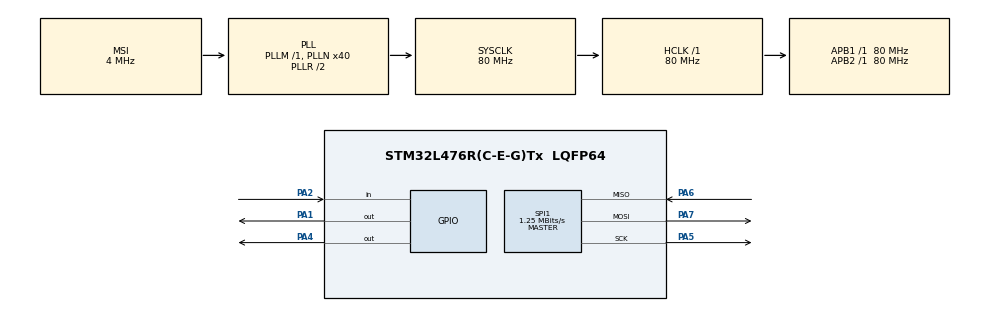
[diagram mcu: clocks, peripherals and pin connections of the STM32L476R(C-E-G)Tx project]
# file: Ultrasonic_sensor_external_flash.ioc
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Mcu.Family=STM32L4
Mcu.Name=STM32L476R(C-E-G)Tx
Mcu.Package=LQFP64
NVIC.PriorityGroup=NVIC_PRIORITYGROUP_4
PA1.Signal=GPIO_Output
PA2.Signal=GPIO_Input
PA4.PinState=GPIO_PIN_SET
PA4.Signal=GPIO_Output
PA5.Mode=Full_Duplex_Master
PA5.Signal=SPI1_SCK
PA6.Mode=Full_Duplex_Master
PA6.Signal=SPI1_MISO
PA7.Mode=Full_Duplex_Master
PA7.Signal=SPI1_MOSI
ProjectManager.HeapSize=0x200
ProjectManager.StackSize=0x400
ProjectManager.TargetToolchain=STM32CubeIDE
RCC.AHBFreq_Value=80000000
RCC.APB1Freq_Value=80000000
RCC.APB1TimFreq_Value=80000000
RCC.APB2Freq_Value=80000000
RCC.APB2TimFreq_Value=80000000
RCC.CortexFreq_Value=80000000
RCC.HCLKFreq_Value=80000000
RCC.HSE_VALUE=8000000
RCC.HSI_VALUE=16000000
RCC.LSE_VALUE=32768
RCC.MSI_VALUE=4000000
RCC.PLLN=40
RCC.SYSCLKFreq_VALUE=80000000
RCC.SYSCLKSource=RCC_SYSCLKSOURCE_PLLCLK
RCC.VCOOutputFreq_Value=160000000
SPI1.BaudRatePrescaler=SPI_BAUDRATEPRESCALER_64
SPI1.CalculateBaudRate=1.25 MBits/s
SPI1.DataSize=SPI_DATASIZE_8BIT
SPI1.Direction=SPI_DIRECTION_2LINES
SPI1.Mode=SPI_MODE_MASTER
SPI1.VirtualType=VM_MASTER
TIM2.Period=65535
TIM2.Prescaler=79
VP_TIM2_VS_ClockSourceINT.Mode=Internal
board=custom

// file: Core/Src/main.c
/* USER CODE BEGIN Header */
/**
 ******************************************************************************
 * @file           : main.c
 * @brief          : Main program body
 ******************************************************************************
 * @attention
 *
 * Copyright (c) 2025 STMicroelectronics.
 * All rights reserved.
 *
 * This software is licensed under terms that can be found in the LICENSE file
 * in the root directory of this software component.
 * If no LICENSE file comes with this software, it is provided AS-IS.
 *
 ******************************************************************************
 */
/* USER CODE END Header */
#include "main.h"

SPI_HandleTypeDef hspi1;

TIM_HandleTypeDef htim2;

/* USER CODE BEGIN PV */
#define TRIG_PIN   GPIO_PIN_1
#define ECHO_PIN   GPIO_PIN_2
#define CS_PIN     GPIO_PIN_4
#define TRIG_PORT  GPIOA
#define ECHO_PORT  GPIOA
#define CS_PORT    GPIOA

#define CMD_WREN   0x06
#define CMD_PP     0x02
#define CMD_READ   0x03
#define CMD_SE     0x20
#define CMD_RDSR   0x05
#define FLASH_ADDR 0x000000
/* USER CODE END PV */

void SystemClock_Config(void);
static void MX_GPIO_Init(void);
static void MX_TIM2_Init(void);
static void MX_SPI1_Init(void);

/* USER CODE BEGIN 0 */
void SystemClock_Config(void);
static void MX_GPIO_Init(void);
static void MX_TIM2_Init(void);
static void MX_SPI1_Init(void);

void delay_us(uint16_t us);
uint32_t Ultrasonic_Read(void);
void Flash_WriteEnable(void);
void Flash_WaitBusy(void);
void Flash_EraseSector(uint32_t addr);
void Flash_Write(uint32_t addr, uint8_t *data, uint16_t len);
void Flash_Read(uint32_t addr, uint8_t *data, uint16_t len);

uint32_t Ultrasonic_Read(void)
{
	uint32_t start = 0, end = 0;
	HAL_GPIO_WritePin(TRIG_PORT, TRIG_PIN, GPIO_PIN_RESET);
	HAL_Delay(2);
	HAL_GPIO_WritePin(TRIG_PORT, TRIG_PIN, GPIO_PIN_SET);
	delay_us(10);
	HAL_GPIO_WritePin(TRIG_PORT, TRIG_PIN, GPIO_PIN_RESET);

	while (!HAL_GPIO_ReadPin(ECHO_PORT, ECHO_PIN));
	start = __HAL_TIM_GET_COUNTER(&htim2);
	while (HAL_GPIO_ReadPin(ECHO_PORT, ECHO_PIN));
	end = __HAL_TIM_GET_COUNTER(&htim2);

	uint32_t diff = (end >= start) ? (end - start) : (0xFFFF - start + end);
	return (uint32_t)(diff * 0.034 / 2);
}

void delay_us(uint16_t us)
{
	__HAL_TIM_SET_COUNTER(&htim2, 0);
	while (__HAL_TIM_GET_COUNTER(&htim2) < us);
}

/* ---------------- SPI FLASH FUNCTIONS ---------------- */
void Flash_WriteEnable(void)
{
	uint8_t cmd = CMD_WREN;
	HAL_GPIO_WritePin(CS_PORT, CS_PIN, GPIO_PIN_RESET);
	HAL_SPI_Transmit(&hspi1, &cmd, 1, HAL_MAX_DELAY);
	HAL_GPIO_WritePin(CS_PORT, CS_PIN, GPIO_PIN_SET);
}

void Flash_WaitBusy(void)
{
	uint8_t cmd = CMD_RDSR, status;
	do {
		HAL_GPIO_WritePin(CS_PORT, CS_PIN, GPIO_PIN_RESET);
		HAL_SPI_Transmit(&hspi1, &cmd, 1, HAL_MAX_DELAY);
		HAL_SPI_Receive(&hspi1, &status, 1, HAL_MAX_DELAY);
		HAL_GPIO_WritePin(CS_PORT, CS_PIN, GPIO_PIN_SET);
	} while (status & 0x01);
}

void Flash_EraseSector(uint32_t addr)
{
	uint8_t cmd[4] = {CMD_SE, (addr >> 16) & 0xFF, (addr >> 8) & 0xFF, addr & 0xFF};
	Flash_WriteEnable();
	HAL_GPIO_WritePin(CS_PORT, CS_PIN, GPIO_PIN_RESET);
	HAL_SPI_Transmit(&hspi1, cmd, 4, HAL_MAX_DELAY);
	HAL_GPIO_WritePin(CS_PORT, CS_PIN, GPIO_PIN_SET);
	Flash_WaitBusy();
}

void Flash_Write(uint32_t addr, uint8_t *data, uint16_t len)
{
	uint8_t cmd[4] = {CMD_PP, (addr >> 16) & 0xFF, (addr >> 8) & 0xFF, addr & 0xFF};
	Flash_WriteEnable();
	HAL_GPIO_WritePin(CS_PORT, CS_PIN, GPIO_PIN_RESET);
	HAL_SPI_Transmit(&hspi1, cmd, 4, HAL_MAX_DELAY);
	HAL_SPI_Transmit(&hspi1, data, len, HAL_MAX_DELAY);
	HAL_GPIO_WritePin(CS_PORT, CS_PIN, GPIO_PIN_SET);
	Flash_WaitBusy();
}

void Flash_Read(uint32_t addr, uint8_t *data, uint16_t len)
{
	uint8_t cmd[4] = {CMD_READ, (addr >> 16) & 0xFF, (addr >> 8) & 0xFF, addr & 0xFF};
	HAL_GPIO_WritePin(CS_PORT, CS_PIN, GPIO_PIN_RESET);
	HAL_SPI_Transmit(&hspi1, cmd, 4, HAL_MAX_DELAY);
	HAL_SPI_Receive(&hspi1, data, len, HAL_MAX_DELAY);
	HAL_GPIO_WritePin(CS_PORT, CS_PIN, GPIO_PIN_SET);
}
/* USER CODE END 0 */

int main(void)
{

	/* MCU Configuration--------------------------------------------------------*/

	/* Reset of all peripherals, Initializes the Flash interface and the Systick. */
	HAL_Init();

	/* Configure the system clock */
	SystemClock_Config();

	/* Initialize all configured peripherals */
	MX_GPIO_Init();
	MX_TIM2_Init();
	MX_SPI1_Init();
	/* USER CODE BEGIN 2 */
	HAL_TIM_Base_Start(&htim2);
	Flash_EraseSector(FLASH_ADDR);
	/* USER CODE END 2 */

	/* Infinite loop */
	while (1)
	{

		/* USER CODE BEGIN 3 */
		uint32_t distance = Ultrasonic_Read();
		uint8_t data[4] =
		{
				(distance >> 24) & 0xFF,
				(distance >> 16) & 0xFF,
				(distance >> 8) & 0xFF,
				distance & 0xFF
		};

		Flash_Write(FLASH_ADDR, data, 4);
		HAL_Delay(50);

		uint8_t readback[4];
		Flash_Read(FLASH_ADDR, readback, 4);
		uint32_t stored = (readback[0] << 24) | (readback[1] << 16) | (readback[2] << 8) | readback[3];

		HAL_Delay(500);
	}
	/* USER CODE END 3 */
}

void SystemClock_Config(void)
{
	RCC_OscInitTypeDef RCC_OscInitStruct = {0};
	RCC_ClkInitTypeDef RCC_ClkInitStruct = {0};

	/** Configure the main internal regulator output voltage
	 */
	if (HAL_PWREx_ControlVoltageScaling(PWR_REGULATOR_VOLTAGE_SCALE1) != HAL_OK)
	{
		Error_Handler();
	}

	/** Initializes the RCC Oscillators according to the specified parameters
	 * in the RCC_OscInitTypeDef structure.
	 */
	RCC_OscInitStruct.OscillatorType = RCC_OSCILLATORTYPE_MSI;
	RCC_OscInitStruct.MSIState = RCC_MSI_ON;
	RCC_OscInitStruct.MSICalibrationValue = 0;
	RCC_OscInitStruct.MSIClockRange = RCC_MSIRANGE_6;
	RCC_OscInitStruct.PLL.PLLState = RCC_PLL_ON;
	RCC_OscInitStruct.PLL.PLLSource = RCC_PLLSOURCE_MSI;
	RCC_OscInitStruct.PLL.PLLM = 1;
	RCC_OscInitStruct.PLL.PLLN = 40;
	RCC_OscInitStruct.PLL.PLLP = RCC_PLLP_DIV7;
	RCC_OscInitStruct.PLL.PLLQ = RCC_PLLQ_DIV2;
	RCC_OscInitStruct.PLL.PLLR = RCC_PLLR_DIV2;
	if (HAL_RCC_OscConfig(&RCC_OscInitStruct) != HAL_OK)
	{
		Error_Handler();
	}

	/** Initializes the CPU, AHB and APB buses clocks
	 */
	RCC_ClkInitStruct.ClockType = RCC_CLOCKTYPE_HCLK|RCC_CLOCKTYPE_SYSCLK
			|RCC_CLOCKTYPE_PCLK1|RCC_CLOCKTYPE_PCLK2;
	RCC_ClkInitStruct.SYSCLKSource = RCC_SYSCLKSOURCE_PLLCLK;
	RCC_ClkInitStruct.AHBCLKDivider = RCC_SYSCLK_DIV1;
	RCC_ClkInitStruct.APB1CLKDivider = RCC_HCLK_DIV1;
	RCC_ClkInitStruct.APB2CLKDivider = RCC_HCLK_DIV1;

	if (HAL_RCC_ClockConfig(&RCC_ClkInitStruct, FLASH_LATENCY_4) != HAL_OK)
	{
		Error_Handler();
	}
}

static void MX_SPI1_Init(void)
{

	/* SPI1 parameter configuration*/
	hspi1.Instance = SPI1;
	hspi1.Init.Mode = SPI_MODE_MASTER;
	hspi1.Init.Direction = SPI_DIRECTION_2LINES;
	hspi1.Init.DataSize = SPI_DATASIZE_8BIT;
	hspi1.Init.CLKPolarity = SPI_POLARITY_LOW;
	hspi1.Init.CLKPhase = SPI_PHASE_1EDGE;
	hspi1.Init.NSS = SPI_NSS_SOFT;
	hspi1.Init.BaudRatePrescaler = SPI_BAUDRATEPRESCALER_64;
	hspi1.Init.FirstBit = SPI_FIRSTBIT_MSB;
	hspi1.Init.TIMode = SPI_TIMODE_DISABLE;
	hspi1.Init.CRCCalculation = SPI_CRCCALCULATION_DISABLE;
	hspi1.Init.CRCPolynomial = 7;
	hspi1.Init.CRCLength = SPI_CRC_LENGTH_DATASIZE;
	hspi1.Init.NSSPMode = SPI_NSS_PULSE_ENABLE;
	if (HAL_SPI_Init(&hspi1) != HAL_OK)
	{
		Error_Handler();
	}

}

static void MX_TIM2_Init(void)
{

	TIM_ClockConfigTypeDef sClockSourceConfig = {0};
	TIM_MasterConfigTypeDef sMasterConfig = {0};

	htim2.Instance = TIM2;
	htim2.Init.Prescaler = 79;
	htim2.Init.CounterMode = TIM_COUNTERMODE_UP;
	htim2.Init.Period = 65535;
	htim2.Init.ClockDivision = TIM_CLOCKDIVISION_DIV1;
	htim2.Init.AutoReloadPreload = TIM_AUTORELOAD_PRELOAD_DISABLE;
	if (HAL_TIM_Base_Init(&htim2) != HAL_OK)
	{
		Error_Handler();
	}
	sClockSourceConfig.ClockSource = TIM_CLOCKSOURCE_INTERNAL;
	if (HAL_TIM_ConfigClockSource(&htim2, &sClockSourceConfig) != HAL_OK)
	{
		Error_Handler();
	}
	sMasterConfig.MasterOutputTrigger = TIM_TRGO_RESET;
	sMasterConfig.MasterSlaveMode = TIM_MASTERSLAVEMODE_DISABLE;
	if (HAL_TIMEx_MasterConfigSynchronization(&htim2, &sMasterConfig) != HAL_OK)
	{
		Error_Handler();
	}

}

static void MX_GPIO_Init(void)
{
	GPIO_InitTypeDef GPIO_InitStruct = {0};

	/* GPIO Ports Clock Enable */
	__HAL_RCC_GPIOA_CLK_ENABLE();

	/*Configure GPIO pin Output Level */
	HAL_GPIO_WritePin(GPIOA, GPIO_PIN_1, GPIO_PIN_RESET);

	/*Configure GPIO pin Output Level */
	HAL_GPIO_WritePin(GPIOA, GPIO_PIN_4, GPIO_PIN_SET);

	/*Configure GPIO pins : PA1 PA4 */
	GPIO_InitStruct.Pin = GPIO_PIN_1|GPIO_PIN_4;
	GPIO_InitStruct.Mode = GPIO_MODE_OUTPUT_PP;
	GPIO_InitStruct.Pull = GPIO_NOPULL;
	GPIO_InitStruct.Speed = GPIO_SPEED_FREQ_LOW;
	HAL_GPIO_Init(GPIOA, &GPIO_InitStruct);

	/*Configure GPIO pin : PA2 */
	GPIO_InitStruct.Pin = GPIO_PIN_2;
	GPIO_InitStruct.Mode = GPIO_MODE_INPUT;
	GPIO_InitStruct.Pull = GPIO_NOPULL;
	HAL_GPIO_Init(GPIOA, &GPIO_InitStruct);

}

void Error_Handler(void)
{
	__disable_irq();
	while (1)
	{
	}
}
